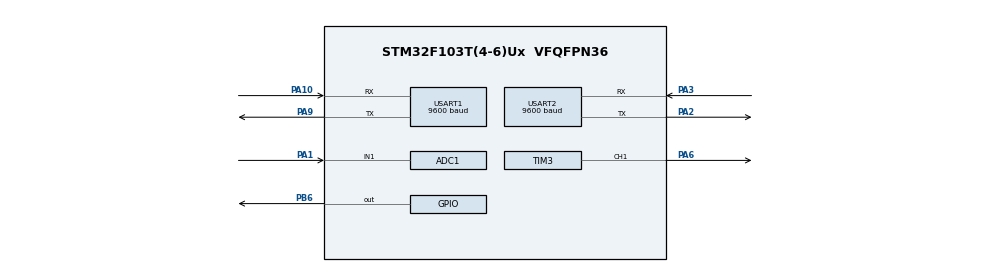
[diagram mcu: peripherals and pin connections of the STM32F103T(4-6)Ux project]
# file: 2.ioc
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ADC1.ContinuousConvMode=ENABLE
ADC1.EnableRegularConversion=DISABLE
ADC1.master=1
Mcu.Family=STM32F1
Mcu.Name=STM32F103T(4-6)Ux
Mcu.Package=VFQFPN36
NVIC.ADC1_2_IRQn=true\:0\:0\:false\:false\:true\:true\:true\:true
NVIC.PriorityGroup=NVIC_PRIORITYGROUP_4
NVIC.RCC_IRQn=true\:0\:0\:false\:false\:true\:true\:false\:true
NVIC.TIM3_IRQn=true\:0\:0\:false\:false\:true\:true\:true\:true
NVIC.USART1_IRQn=true\:0\:0\:false\:false\:true\:true\:true\:true
NVIC.USART2_IRQn=true\:0\:0\:false\:false\:true\:true\:true\:true
PA1.Signal=ADCx_IN1
PA10.Mode=Asynchronous
PA10.Signal=USART1_RX
PA2.Mode=Asynchronous
PA2.Signal=USART2_TX
PA3.Mode=Asynchronous
PA3.Signal=USART2_RX
PA6.Signal=S_TIM3_CH1
PA9.Mode=Asynchronous
PA9.Signal=USART1_TX
PB6.Signal=GPIO_Output
PD0-OSC_IN.Mode=HSE-External-Oscillator
PD0-OSC_IN.Signal=RCC_OSC_IN
PD1-OSC_OUT.Mode=HSE-External-Oscillator
PD1-OSC_OUT.Signal=RCC_OSC_OUT
ProjectManager.HeapSize=0x200
ProjectManager.StackSize=0x400
ProjectManager.TargetToolchain=STM32CubeIDE
RCC.APB1Freq_Value=8000000
RCC.APB2Freq_Value=8000000
SH.ADCx_IN1.0=ADC1_IN1,IN1
SH.S_TIM3_CH1.0=TIM3_CH1,PWM Generation1 CH1
TIM3.Channel-PWM\ Generation1\ CH1=TIM_CHANNEL_1
TIM3.Period=1000
TIM3.Prescaler=7999
TIM3.Pulse-PWM\ Generation1\ CH1=500
USART1.BaudRate=9600
USART1.VirtualMode=VM_ASYNC
USART2.BaudRate=9600
USART2.VirtualMode=VM_ASYNC
VP_SYS_VS_ND.Mode=No_Debug
VP_TIM3_VS_ClockSourceINT.Mode=Internal
board=custom

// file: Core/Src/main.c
/* USER CODE BEGIN Header */
/**
  ******************************************************************************
  * @file           : main.c
  * @brief          : Main program body
  ******************************************************************************
  */
/* USER CODE END Header */
#include "main.h"

/* USER CODE BEGIN Includes */
#include "stdio.h"
#include "limits.h"
#include "string.h"
#include "stdbool.h"
/* USER CODE END Includes */

/* USER CODE BEGIN PD */
#define MIN_BUFFER_SIZE 0
#define MAX_BUFFER_SIZE SCHAR_MAX

#define CHAR_DEFAULT_SPACE 0x20
#define CHAR_ESCAPE_BACKSLASH 0x08
#define CHAR_ESCAPE_CARRIAGE_RETURN 0x0D
#define CHAR_SPECIAL_NULL_TERMINATOR 0x00
/* USER CODE END PD */

ADC_HandleTypeDef hadc1;

TIM_HandleTypeDef htim3;

UART_HandleTypeDef huart1;
UART_HandleTypeDef huart2;

/* USER CODE BEGIN PV */
static const uint8_t CHAR_BACKSLASH = CHAR_ESCAPE_BACKSLASH;
static const uint8_t CHAR_NULL_TERMINATOR = CHAR_SPECIAL_NULL_TERMINATOR;

static uint8_t uartInputBufferData;
static uint8_t uartInputBufferIndex;
static char uartInputBuffer[MAX_BUFFER_SIZE];

static uint8_t uartOutputBufferIndex;
static char uartOutputBuffer[MAX_BUFFER_SIZE];

static const char* const COMMAND_STOP_PWM = "stop pwm";
static const char* const MESSAGE_SUCCESS_STOP_PWM = "[LOG] PWM stopped\r\n";

static const char* const COMMAND_START_PWM = "start pwm";
static const char* const MESSAGE_SUCCESS_START_PWM = "[LOG] PWM started with duty cycle %lu%\%\r\n";

static const char* const COMMAND_STOP_TIMER = "stop timer";
static const char* const MESSAGE_SUCCESS_STOP_TIMER = "[LOG] Timer stopped\r\n";

static const char* const COMMAND_START_TIMER = "start timer";
static const char* const MESSAGE_SUCCESS_START_TIMER = "[LOG] Timer started at %lu ms\r\n";

static const char* const COMMAND_PRINT_VALUE_ADC = "print adc";
static const char* const MESSAGE_SUCCESS_PRINT_VALUE_ADC = "[LOG] ADC = %lu\r\n";

static const char* const COMMAND_TURN_LED_ON = "led on";
static const char* const MESSAGE_SUCCESS_TURN_LED_ON = "[LOG] Turned LED ON\r\n";

static const char* const COMMAND_TURN_LED_OFF = "led off";
static const char* const MESSAGE_SUCCESS_TURN_LED_OFF = "[LOG] Turned LED OFF\r\n";
/* USER CODE END PV */

void SystemClock_Config(void);
static void MX_GPIO_Init(void);
static void MX_ADC1_Init(void);
static void MX_USART2_UART_Init(void);
static void MX_USART1_UART_Init(void);
static void MX_TIM3_Init(void);
/* USER CODE BEGIN PFP */
static void resetBuffers(void);
static void processCommand(void);
static void processCommandStopPWM(void);
static void processCommandStartPWM(void);
static void processCommandStopTimer(void);
static void processCommandStartTimer(void);
static void processCommandTurnLedOn(void);
static void processCommandTurnLedOff(void);
static void processCommandPrintValueADC(void);
/* USER CODE END PFP */

/* USER CODE BEGIN 0 */

void HAL_TIM_PeriodElapsedCallback(TIM_HandleTypeDef *htim)
{
    if (htim->Instance == TIM3)
    	HAL_GPIO_TogglePin(GPIOB, GPIO_PIN_6);

    HAL_TIM_Base_Start_IT(&htim3);
}

void HAL_UART_RxCpltCallback(UART_HandleTypeDef *huart) {
    if (huart->Instance != USART1)
    	return;

    switch (uartInputBufferData) {
        case CHAR_ESCAPE_BACKSLASH:
            if (uartInputBufferIndex > MIN_BUFFER_SIZE)
                uartInputBuffer[--uartInputBufferIndex] = CHAR_NULL_TERMINATOR;
            break;
        case CHAR_ESCAPE_CARRIAGE_RETURN:
            uartInputBuffer[uartInputBufferIndex++] = CHAR_NULL_TERMINATOR;
            processCommand();
            resetBuffers();
            break;
        default:
        	if (uartInputBufferIndex < MAX_BUFFER_SIZE)
        		uartInputBuffer[uartInputBufferIndex++] = uartInputBufferData;
            break;
    }

    HAL_UART_Receive_IT(&huart1, &uartInputBufferData, 1);
}

static void resetBuffers(void) {
	memset(uartInputBuffer, 0, MAX_BUFFER_SIZE);
	memset(uartOutputBuffer, 0, MAX_BUFFER_SIZE);
    uartInputBufferIndex = uartOutputBufferIndex = 0;
}

static void processCommand(void) {
	const int COMPARISON_EQUALITY = 0;

	if (strncmp(uartInputBuffer, COMMAND_STOP_PWM, strlen(COMMAND_STOP_PWM)) == COMPARISON_EQUALITY) {
		processCommandStopPWM();
		return;
	}

	if (strncmp(uartInputBuffer, COMMAND_START_PWM, strlen(COMMAND_START_PWM)) == COMPARISON_EQUALITY) {
		processCommandStartPWM();
		return;
	}

	if (strncmp(uartInputBuffer, COMMAND_STOP_TIMER, strlen(COMMAND_STOP_TIMER)) == COMPARISON_EQUALITY) {
		processCommandStopTimer();
		return;
	}

	if (strncmp(uartInputBuffer, COMMAND_START_TIMER, strlen(COMMAND_START_TIMER)) == COMPARISON_EQUALITY) {
		processCommandStartTimer();
		return;
	}

	if (strncmp(uartInputBuffer, COMMAND_TURN_LED_ON, strlen(COMMAND_TURN_LED_ON)) == COMPARISON_EQUALITY) {
		processCommandTurnLedOn();
		return;
	}

	if (strncmp(uartInputBuffer, COMMAND_TURN_LED_OFF, strlen(COMMAND_TURN_LED_OFF)) == COMPARISON_EQUALITY) {
		processCommandTurnLedOff();
		return;
	}

	if (strncmp(uartInputBuffer, COMMAND_PRINT_VALUE_ADC, strlen(COMMAND_PRINT_VALUE_ADC)) == COMPARISON_EQUALITY) {
		processCommandPrintValueADC();
		return;
	}

    sprintf(uartOutputBuffer, "[ERROR] Unknown command\r\n");
	HAL_UART_Transmit(&huart2, (uint8_t*)uartOutputBuffer, strlen(uartOutputBuffer), HAL_MAX_DELAY);
}

static void processCommandStopPWM(void) {
    HAL_TIM_PWM_Stop(&htim3, TIM_CHANNEL_1);
    HAL_UART_Transmit(&huart2, (uint8_t*)MESSAGE_SUCCESS_STOP_PWM, strlen(MESSAGE_SUCCESS_STOP_PWM), HAL_MAX_DELAY);
}

static void processCommandStartPWM(void) {
    const char* duty_str = uartInputBuffer + strlen(COMMAND_START_PWM);

    while (*duty_str == CHAR_DEFAULT_SPACE)
        ++duty_str;

    if (*duty_str == CHAR_NULL_TERMINATOR) {
        sprintf(uartOutputBuffer, "[ERROR] No PWM duty cycle specified\r\n");
        HAL_UART_Transmit(&huart2, (uint8_t*)uartOutputBuffer, strlen(uartOutputBuffer), HAL_MAX_DELAY);
        return;
    }

    uint32_t duty_percent = atoi(duty_str);

    if (duty_percent > 100) {
        sprintf(uartOutputBuffer, "[ERROR] Invalid PWM duty cycle (0-100%%): %s\r\n", duty_str);
        HAL_UART_Transmit(&huart2, (uint8_t*)uartOutputBuffer, strlen(uartOutputBuffer), HAL_MAX_DELAY);
        return;
    }

    uint32_t arr = htim3.Instance->ARR;
    uint32_t pulse = (arr * duty_percent) / 100;

    HAL_TIM_PWM_Stop(&htim3, TIM_CHANNEL_1);

    HAL_TIM_PWM_Start(&htim3, TIM_CHANNEL_1);
    __HAL_TIM_SET_COMPARE(&htim3, TIM_CHANNEL_1, pulse);

    sprintf(uartOutputBuffer, MESSAGE_SUCCESS_START_PWM, duty_percent);
    HAL_UART_Transmit(&huart2, (uint8_t*)uartOutputBuffer, strlen(uartOutputBuffer), HAL_MAX_DELAY);
}

static void processCommandStopTimer(void) {
    HAL_TIM_Base_Stop_IT(&htim3);
    __HAL_TIM_DISABLE(&htim3);

    HAL_UART_Transmit(&huart2, (uint8_t*)MESSAGE_SUCCESS_STOP_TIMER, strlen(MESSAGE_SUCCESS_STOP_TIMER), HAL_MAX_DELAY);
}

static void processCommandStartTimer(void) {
	const char* period_str = uartInputBuffer + strlen(COMMAND_START_TIMER);

	while (*period_str == CHAR_DEFAULT_SPACE)
		++period_str;

	if (*period_str == CHAR_NULL_TERMINATOR) {
		sprintf(uartOutputBuffer, "[ERROR] No timer period specified\r\n");
		HAL_UART_Transmit(&huart2, (uint8_t*)uartOutputBuffer, strlen(uartOutputBuffer), HAL_MAX_DELAY);
		return;
	}

	uint32_t milliseconds = atoi(period_str);

	if (milliseconds == 0) {
		sprintf(uartOutputBuffer, "[ERROR] Invalid timer period: %s\r\n", period_str);
		HAL_UART_Transmit(&huart2, (uint8_t*)uartOutputBuffer, strlen(uartOutputBuffer), HAL_MAX_DELAY);
		return;
	}

	__HAL_TIM_DISABLE(&htim3);

	uint32_t prescaler = htim3.Instance->PSC;
	uint32_t timerClock = HAL_RCC_GetHCLKFreq() / (prescaler + 1);
	uint32_t arr = (timerClock * milliseconds) / 1000 - 1;

	if (arr > UINT16_MAX) {
		sprintf(uartOutputBuffer, "[ERROR] Timer period too large (max ~8192 ms with current prescaler)\r\n");
		HAL_UART_Transmit(&huart2, (uint8_t*)uartOutputBuffer, strlen(uartOutputBuffer), HAL_MAX_DELAY);
		return;
	}

	htim3.Instance->ARR = arr;
	htim3.Instance->EGR = TIM_EGR_UG;

	__HAL_TIM_ENABLE(&htim3);
	HAL_TIM_Base_Start_IT(&htim3);

	sprintf(uartOutputBuffer, MESSAGE_SUCCESS_START_TIMER, milliseconds);
	HAL_UART_Transmit(&huart2, (uint8_t*)uartOutputBuffer, strlen(uartOutputBuffer), HAL_MAX_DELAY);
}

static void processCommandTurnLedOn(void) {
	HAL_GPIO_WritePin(GPIOB, GPIO_PIN_6, GPIO_PIN_SET);
	HAL_UART_Transmit(&huart2, (uint8_t*)MESSAGE_SUCCESS_TURN_LED_ON, strlen(MESSAGE_SUCCESS_TURN_LED_ON), HAL_MAX_DELAY);
}

static void processCommandTurnLedOff(void) {
	HAL_GPIO_WritePin(GPIOB, GPIO_PIN_6, GPIO_PIN_RESET);
	HAL_UART_Transmit(&huart2, (uint8_t*)MESSAGE_SUCCESS_TURN_LED_OFF, strlen(MESSAGE_SUCCESS_TURN_LED_OFF), HAL_MAX_DELAY);
}

static void processCommandPrintValueADC(void) {
    sprintf(uartOutputBuffer, MESSAGE_SUCCESS_PRINT_VALUE_ADC, HAL_ADC_GetValue(&hadc1));
    HAL_UART_Transmit(&huart2, (uint8_t*)uartOutputBuffer, strlen(uartOutputBuffer), HAL_MAX_DELAY);
}

/* USER CODE END 0 */

int main(void)
{

  /* MCU Configuration--------------------------------------------------------*/

  /* Reset of all peripherals, Initializes the Flash interface and the Systick. */
  HAL_Init();

  /* Configure the system clock */
  SystemClock_Config();

  /* Initialize all configured peripherals */
  MX_GPIO_Init();
  MX_ADC1_Init();
  MX_USART2_UART_Init();
  MX_USART1_UART_Init();
  MX_TIM3_Init();
  /* USER CODE BEGIN 2 */

  HAL_NVIC_SetPriority(USART1_IRQn, 1, 0);
  HAL_NVIC_EnableIRQ(USART1_IRQn);

  HAL_UART_Receive_IT(&huart1, &uartInputBufferData, 1);

  __HAL_RCC_ADC1_CLK_ENABLE();
  HAL_ADC_Start(&hadc1);

  HAL_UART_Transmit(&huart1, &CHAR_BACKSLASH, 1, HAL_MAX_DELAY);
  HAL_UART_Transmit(&huart2, &CHAR_BACKSLASH, 1, HAL_MAX_DELAY);
  /* USER CODE END 2 */

  /* Infinite loop */
  while (1)
  {

  }
}

void SystemClock_Config(void)
{
  RCC_OscInitTypeDef RCC_OscInitStruct = {0};
  RCC_ClkInitTypeDef RCC_ClkInitStruct = {0};
  RCC_PeriphCLKInitTypeDef PeriphClkInit = {0};

  /** Initializes the RCC Oscillators according to the specified parameters
  * in the RCC_OscInitTypeDef structure.
  */
  RCC_OscInitStruct.OscillatorType = RCC_OSCILLATORTYPE_HSI;
  RCC_OscInitStruct.HSIState = RCC_HSI_ON;
  RCC_OscInitStruct.HSICalibrationValue = RCC_HSICALIBRATION_DEFAULT;
  RCC_OscInitStruct.PLL.PLLState = RCC_PLL_NONE;
  if (HAL_RCC_OscConfig(&RCC_OscInitStruct) != HAL_OK)
  {
    Error_Handler();
  }

  /** Initializes the CPU, AHB and APB buses clocks
  */
  RCC_ClkInitStruct.ClockType = RCC_CLOCKTYPE_HCLK|RCC_CLOCKTYPE_SYSCLK
                              |RCC_CLOCKTYPE_PCLK1|RCC_CLOCKTYPE_PCLK2;
  RCC_ClkInitStruct.SYSCLKSource = RCC_SYSCLKSOURCE_HSI;
  RCC_ClkInitStruct.AHBCLKDivider = RCC_SYSCLK_DIV1;
  RCC_ClkInitStruct.APB1CLKDivider = RCC_HCLK_DIV1;
  RCC_ClkInitStruct.APB2CLKDivider = RCC_HCLK_DIV1;

  if (HAL_RCC_ClockConfig(&RCC_ClkInitStruct, FLASH_LATENCY_0) != HAL_OK)
  {
    Error_Handler();
  }
  PeriphClkInit.PeriphClockSelection = RCC_PERIPHCLK_ADC;
  PeriphClkInit.AdcClockSelection = RCC_ADCPCLK2_DIV2;
  if (HAL_RCCEx_PeriphCLKConfig(&PeriphClkInit) != HAL_OK)
  {
    Error_Handler();
  }
}

static void MX_ADC1_Init(void)
{

  /** Common config
  */
  hadc1.Instance = ADC1;
  hadc1.Init.ScanConvMode = ADC_SCAN_DISABLE;
  hadc1.Init.ContinuousConvMode = ENABLE;
  hadc1.Init.DiscontinuousConvMode = DISABLE;
  hadc1.Init.ExternalTrigConv = ADC_SOFTWARE_START;
  hadc1.Init.DataAlign = ADC_DATAALIGN_RIGHT;
  hadc1.Init.NbrOfConversion = 1;
  if (HAL_ADC_Init(&hadc1) != HAL_OK)
  {
    Error_Handler();
  }

}

static void MX_TIM3_Init(void)
{

  TIM_ClockConfigTypeDef sClockSourceConfig = {0};
  TIM_MasterConfigTypeDef sMasterConfig = {0};
  TIM_OC_InitTypeDef sConfigOC = {0};

  htim3.Instance = TIM3;
  htim3.Init.Prescaler = 7999;
  htim3.Init.CounterMode = TIM_COUNTERMODE_UP;
  htim3.Init.Period = 1000;
  htim3.Init.ClockDivision = TIM_CLOCKDIVISION_DIV1;
  htim3.Init.AutoReloadPreload = TIM_AUTORELOAD_PRELOAD_DISABLE;
  if (HAL_TIM_Base_Init(&htim3) != HAL_OK)
  {
    Error_Handler();
  }
  sClockSourceConfig.ClockSource = TIM_CLOCKSOURCE_INTERNAL;
  if (HAL_TIM_ConfigClockSource(&htim3, &sClockSourceConfig) != HAL_OK)
  {
    Error_Handler();
  }
  if (HAL_TIM_PWM_Init(&htim3) != HAL_OK)
  {
    Error_Handler();
  }
  sMasterConfig.MasterOutputTrigger = TIM_TRGO_RESET;
  sMasterConfig.MasterSlaveMode = TIM_MASTERSLAVEMODE_DISABLE;
  if (HAL_TIMEx_MasterConfigSynchronization(&htim3, &sMasterConfig) != HAL_OK)
  {
    Error_Handler();
  }
  sConfigOC.OCMode = TIM_OCMODE_PWM1;
  sConfigOC.Pulse = 500;
  sConfigOC.OCPolarity = TIM_OCPOLARITY_HIGH;
  sConfigOC.OCFastMode = TIM_OCFAST_DISABLE;
  if (HAL_TIM_PWM_ConfigChannel(&htim3, &sConfigOC, TIM_CHANNEL_1) != HAL_OK)
  {
    Error_Handler();
  }
  HAL_TIM_MspPostInit(&htim3);

}

static void MX_USART1_UART_Init(void)
{

  huart1.Instance = USART1;
  huart1.Init.BaudRate = 9600;
  huart1.Init.WordLength = UART_WORDLENGTH_8B;
  huart1.Init.StopBits = UART_STOPBITS_1;
  huart1.Init.Parity = UART_PARITY_NONE;
  huart1.Init.Mode = UART_MODE_TX_RX;
  huart1.Init.HwFlowCtl = UART_HWCONTROL_NONE;
  huart1.Init.OverSampling = UART_OVERSAMPLING_16;
  if (HAL_UART_Init(&huart1) != HAL_OK)
  {
    Error_Handler();
  }

}

static void MX_USART2_UART_Init(void)
{

  huart2.Instance = USART2;
  huart2.Init.BaudRate = 9600;
  huart2.Init.WordLength = UART_WORDLENGTH_8B;
  huart2.Init.StopBits = UART_STOPBITS_1;
  huart2.Init.Parity = UART_PARITY_NONE;
  huart2.Init.Mode = UART_MODE_TX_RX;
  huart2.Init.HwFlowCtl = UART_HWCONTROL_NONE;
  huart2.Init.OverSampling = UART_OVERSAMPLING_16;
  if (HAL_UART_Init(&huart2) != HAL_OK)
  {
    Error_Handler();
  }

}

static void MX_GPIO_Init(void)
{
  GPIO_InitTypeDef GPIO_InitStruct = {0};

  /* GPIO Ports Clock Enable */
  __HAL_RCC_GPIOD_CLK_ENABLE();
  __HAL_RCC_GPIOA_CLK_ENABLE();
  __HAL_RCC_GPIOB_CLK_ENABLE();

  /*Configure GPIO pin Output Level */
  HAL_GPIO_WritePin(GPIOB, GPIO_PIN_6, GPIO_PIN_RESET);

  /*Configure GPIO pin : PB6 */
  GPIO_InitStruct.Pin = GPIO_PIN_6;
  GPIO_InitStruct.Mode = GPIO_MODE_OUTPUT_PP;
  GPIO_InitStruct.Pull = GPIO_NOPULL;
  GPIO_InitStruct.Speed = GPIO_SPEED_FREQ_LOW;
  HAL_GPIO_Init(GPIOB, &GPIO_InitStruct);

}

void Error_Handler(void)
{
  __disable_irq();
  while (1)
  {
  }
}
